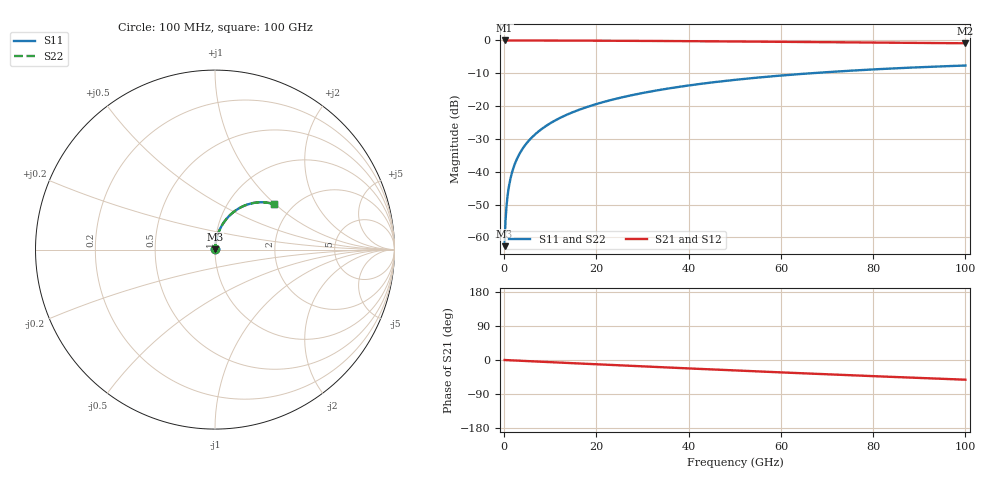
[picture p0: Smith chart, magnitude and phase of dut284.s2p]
! Touchstone file exported from HFSS 2026.1.0
!  File:  C:/ffzhzh/LocalFiles/Ansys_Project_Files/temp_train_TSV_284_1783508878_31944.aedt
!  Generated:  07:09:26 PM Jul  8, 2026
!  Design:  TSV
!  Project:  temp_train_TSV_284_1783508878_31944
! Variables:
!  h_bsmrdl = 2um
!  h_ox = 20um
!  h_rdl = 5um
!  h_sub = 91.62um
!  h_tmrdl = 5um
!  h_tsv = 91.62um
!  h_via = 3um
!  l_bsmrdl = 300um
!  l_sub = 410.08um
!  l_tmrdl = 200um
!  m_sub = 200um
!  pitch = 53.39um
!  r_tsv = 5.04um
!  s_tmrdl = 10um
!  w_bsmrdl = 18um
!  w_sub = 500um
!  w_tmrdl = 12um
!  x_tsv_center1 = 206um
!  x_tsv_center2 = 524um
!  x_tsv_center3 = 736um
!  x_tsv_center4 = 1054um
!  x_tsv_center5 = 1266um
!  x_tsv_center6 = 1584um
# GHz S MA R 50.000000
! Terminal data exported
! Port[1] = TSV1_1_T1
! Port[2] = TSV1_1_T2
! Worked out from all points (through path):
!   1000 points, 100 MHz to 100 GHz, reference 50 ohm
!   highest |S21| = 0.00 dB at 100 MHz (marker M1); lowest = -0.9 dB at 100 GHz (marker M2)
!   group delay of S21, straight-line fit = 1.45 ps
!   lowest |S11| = -62.7 dB at 100 MHz (marker M3), VSWR 1.00, Z = 50 + j0.0588 ohm
!   |S11| at or under -10 dB: start of sweep to 66.47 GHz
!   |S22| runs from -62.7 to -7.6 dB; largest |S21 - S12| = 3.1e-15
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0.1  0.0007348 53.0  0.9996 -0.1  0.9996 -0.1  0.0007348 53.0
! Gamma 0 0 0 0
! Port Impedance 50 0 50 0
0.4  0.002355 78.2  0.9995 -0.2  0.9995 -0.2  0.002355 78.2
0.7  0.004047 82.5  0.9995 -0.4  0.9995 -0.4  0.004047 82.5
0.8  0.004614 83.2  0.9995 -0.5  0.9995 -0.5  0.004614 83.2
1.1  0.006314 84.4  0.9994 -0.6  0.9994 -0.6  0.006314 84.4
1.4  0.00801 85.0  0.9994 -0.8  0.9994 -0.8  0.00801 85.0
1.9  0.01082 85.3  0.9993 -1.1  0.9993 -1.1  0.01082 85.3
2.4  0.01361 85.4  0.9991 -1.4  0.9991 -1.4  0.01361 85.4
3  0.01693 85.3  0.999 -1.7  0.999 -1.7  0.01693 85.3
3.8  0.02132 85.1  0.9988 -2.2  0.9988 -2.2  0.02132 85.1
4.8  0.02676 84.8  0.9985 -2.8  0.9985 -2.8  0.02676 84.8
5.9  0.03272 84.3  0.9982 -3.4  0.9982 -3.4  0.03272 84.3
8.8  0.04834 83.1  0.9972 -5.0  0.9972 -5.0  0.04834 83.1
12.4  0.06757 81.3  0.9958 -7.0  0.9958 -7.0  0.06757 81.3
16.8  0.09079 79.1  0.9937 -9.5  0.9937 -9.5  0.09079 79.1
24.2  0.129 75.2  0.989 -13.6  0.989 -13.6  0.129 75.2
33.4  0.1748 70.4  0.9816 -18.7  0.9816 -18.7  0.1748 70.4
41.2  0.2117 66.2  0.9741 -22.9  0.9741 -22.9  0.2117 66.3
50.1  0.2512 61.6  0.9644 -27.6  0.9644 -27.6  0.2512 61.6
66.7  0.317 53.2  0.9445 -36.1  0.9445 -36.1  0.317 53.3
83.4  0.372 45.2  0.9241 -44.2  0.9241 -44.2  0.372 45.2
100  0.415 37.5  0.9054 -52.0  0.9054 -52.0  0.415 37.5
